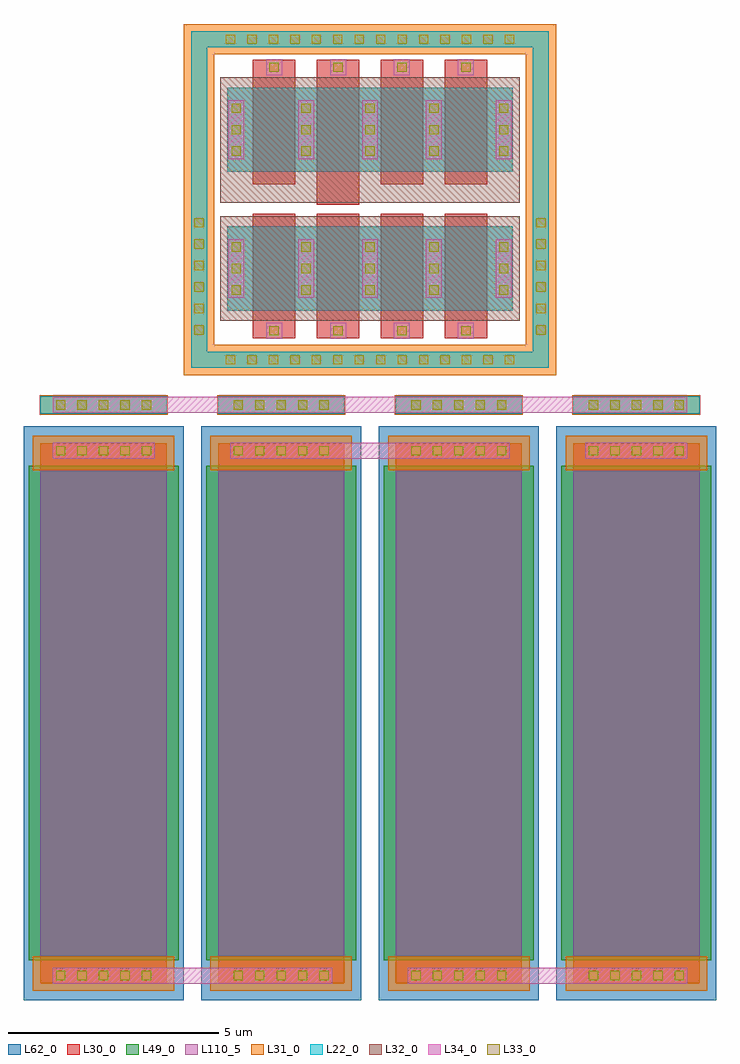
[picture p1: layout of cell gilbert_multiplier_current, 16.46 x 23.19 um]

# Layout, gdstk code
from math import pi, radians
import gdstk
lib = gdstk.Library(unit=1e-6, precision=5e-09)
def R(c, l, rs):  # rectangles x0, y0, x1, y1
    for r in rs: c.add(gdstk.rectangle(r[:2], r[2:], *l))
def A(c, l, x, y, w, h, nx, ny, dx, dy):  # array of equal rectangles
    R(c, l, [(x+i*dx, y+j*dy, x+i*dx+w, y+j*dy+h) for i in range(nx) for j in range(ny)])
def P(c, l, *ps):  # polygons
    for p in ps: c.add(gdstk.Polygon(p, *l))
L22_0 = (22, 0)
L30_0 = (30, 0)
L31_0 = (31, 0)
L32_0 = (32, 0)
L33_0 = (33, 0)
L34_0 = (34, 0)
L49_0 = (49, 0)
L62_0 = (62, 0)
L110_5 = (110, 5)

ppolyf_u_high_rs_resisto = lib.new_cell('ppolyf_u_high_Rs_resistor')
R(ppolyf_u_high_rs_resisto, L22_0, [(-1.76,0,-1.34,3)])
R(ppolyf_u_high_rs_resisto, L30_0, [(-0.64,0,12.19,3)])
R(ppolyf_u_high_rs_resisto, L31_0, [(-0.82,-0.18,0,3.18), (11.55,-0.18,12.37,3.18), (-1.78,-0.02,-1.32,3.02)])
A(ppolyf_u_high_rs_resisto, L33_0, -1.66, 0.37, 0.22, 0.22, 1, 5, 0, 0.51)
A(ppolyf_u_high_rs_resisto, L33_0, -0.57, 0.37, 0.22, 0.22, 1, 5, 0, 0.51)
A(ppolyf_u_high_rs_resisto, L33_0, 11.9, 0.37, 0.22, 0.22, 1, 5, 0, 0.51)
R(ppolyf_u_high_rs_resisto, L34_0, [(-1.74,0.29,-1.36,2.71), (-0.65,0.29,-0.27,2.71), (11.82,0.29,12.2,2.71)])
R(ppolyf_u_high_rs_resisto, L49_0, [(-0.1,-0.28,11.65,3.28)])
R(ppolyf_u_high_rs_resisto, L62_0, [(-1.04,-0.4,12.59,3.4)])
R(ppolyf_u_high_rs_resisto, L110_5, [(0,0,11.55,3)])

gilbert_multiplier_curre = lib.new_cell('gilbert_multiplier_current')
R(gilbert_multiplier_curre, L22_0, [(9.65,18.03,10.07,20.03), (10.07,18.03,16.01,20.03), (16.01,18.03,16.43,20.03), (9.65,21.33,10.07,23.33), (10.07,21.33,16.01,23.33), (16.01,21.33,16.43,23.33)])
P(gilbert_multiplier_curre, L22_0, [(8.79,16.67),(8.79,24.29),(9.17,24.29),(9.17,17.05),(16.91,17.05),(16.91,24.29),(8.79,24.29),(8.79,24.67),(17.29,24.67),(17.29,16.67)])
A(gilbert_multiplier_curre, L30_0, 10.26, 17.37, 1, 0.36, 4, 2, 1.52, 6.26)
A(gilbert_multiplier_curre, L30_0, 10.26, 17.73, 1, 2.6, 4, 1, 1.52, 0)
R(gilbert_multiplier_curre, L30_0, [(11.78,20.54,12.78,23.63), (10.26,21.03,11.26,23.63), (13.3,21.03,14.3,23.63), (14.82,21.03,15.82,23.63)])
P(gilbert_multiplier_curre, L31_0, [(8.62,16.5),(8.62,24.12),(9.34,24.12),(9.34,17.22),(16.74,17.22),(16.74,24.12),(8.62,24.12),(8.62,24.84),(17.46,24.84),(17.46,16.5)])
R(gilbert_multiplier_curre, L32_0, [(9.48,17.79,16.6,20.27), (9.48,20.59,16.6,23.57)])
A(gilbert_multiplier_curre, L33_0, 9.615, 16.75, 0.22, 0.22, 14, 2, 0.51, 7.62)
A(gilbert_multiplier_curre, L33_0, 10.65, 17.44, 0.22, 0.22, 4, 2, 1.52, 6.26)
A(gilbert_multiplier_curre, L33_0, 8.87, 17.46, 0.22, 0.22, 1, 6, 0, 0.51)
A(gilbert_multiplier_curre, L33_0, 16.99, 17.46, 0.22, 0.22, 1, 6, 0, 0.51)
A(gilbert_multiplier_curre, L33_0, 9.75, 18.41, 0.22, 0.22, 1, 3, 0, 0.51)
A(gilbert_multiplier_curre, L33_0, 11.41, 18.41, 0.22, 0.22, 3, 3, 1.52, 0.51)
A(gilbert_multiplier_curre, L33_0, 16.11, 18.41, 0.22, 0.22, 1, 3, 0, 0.51)
A(gilbert_multiplier_curre, L33_0, 9.75, 21.71, 0.22, 0.22, 1, 3, 0, 0.51)
A(gilbert_multiplier_curre, L33_0, 11.41, 21.71, 0.22, 0.22, 3, 3, 1.52, 0.51)
A(gilbert_multiplier_curre, L33_0, 16.11, 21.71, 0.22, 0.22, 1, 3, 0, 0.51)
A(gilbert_multiplier_curre, L34_0, 10.57, 17.36, 0.38, 0.38, 4, 2, 1.52, 6.26)
A(gilbert_multiplier_curre, L34_0, 11.33, 18.33, 0.38, 1.4, 3, 2, 1.52, 3.3)
R(gilbert_multiplier_curre, L34_0, [(5.5,2.04,12.14,2.42), (13.94,2.04,20.58,2.42), (9.72,14.51,16.36,14.89), (5.5,15.6,20.58,15.98), (9.67,18.33,10.05,19.73), (16.03,18.33,16.41,19.73), (9.67,21.63,10.05,23.03), (16.03,21.63,16.41,23.03)])
gilbert_multiplier_curre.add(gdstk.Reference(ppolyf_u_high_rs_resisto, (9.43,14.24), rotation=3*pi/2))
gilbert_multiplier_curre.add(gdstk.Reference(ppolyf_u_high_rs_resisto, (13.65,14.24), rotation=3*pi/2))
gilbert_multiplier_curre.add(gdstk.Reference(ppolyf_u_high_rs_resisto, (17.87,14.24), rotation=3*pi/2))
gilbert_multiplier_curre.add(gdstk.Reference(ppolyf_u_high_rs_resisto, (5.21,14.24), rotation=3*pi/2))
gilbert_multiplier_curre.add(gdstk.Label('VSS', (1.39,15.77), layer=34, texttype=10))
gilbert_multiplier_curre.add(gdstk.Label('V_x_p', (1.655,24.585), layer=34, texttype=10))
gilbert_multiplier_curre.add(gdstk.Label('V_w_p', (1.655,29.15), layer=34, texttype=10))

lib.write_gds('gilbert_multiplier_current.gds')
